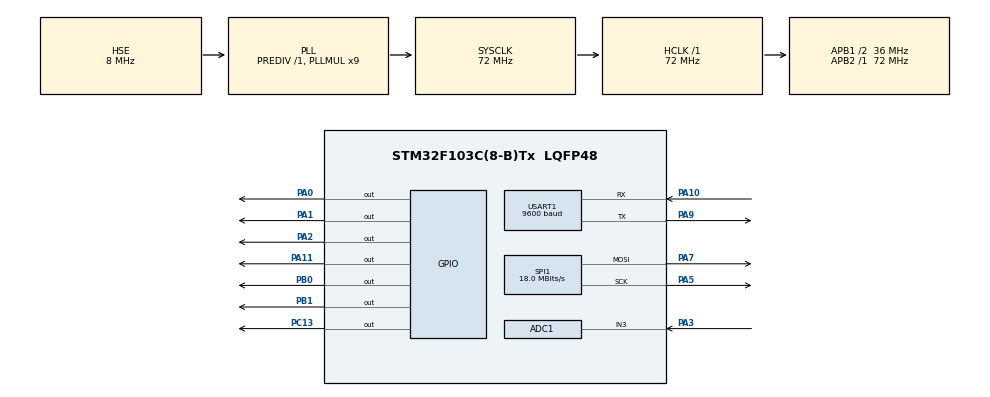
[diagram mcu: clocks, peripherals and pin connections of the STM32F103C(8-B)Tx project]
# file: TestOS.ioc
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ADC1.Channel-2\#ChannelRegularConversion=ADC_CHANNEL_3
ADC1.NbrOfConversionFlag=1
ADC1.Rank-2\#ChannelRegularConversion=1
ADC1.SamplingTime-2\#ChannelRegularConversion=ADC_SAMPLETIME_1CYCLE_5
ADC1.master=1
FREERTOS.Tasks01=topTask,24,128,StartTopTask,Default,NULL,Dynamic,NULL,NULL;myTask02,24,128,StartTask02,Default,NULL,Dynamic,NULL,NULL;myTask03,24,128,StartTask03,Default,NULL,Dynamic,NULL,NULL;uartTask,24,128,StartUartTask,Default,NULL,Dynamic,NULL,NULL
FREERTOS.configGENERATE_RUN_TIME_STATS=1
FREERTOS.configUSE_IDLE_HOOK=1
FREERTOS.configUSE_STATS_FORMATTING_FUNCTIONS=1
Mcu.Family=STM32F1
Mcu.Name=STM32F103C(8-B)Tx
Mcu.Package=LQFP48
NVIC.ADC1_2_IRQn=true\:5\:0\:false\:false\:true\:true\:true\:true
NVIC.PriorityGroup=NVIC_PRIORITYGROUP_4
NVIC.TIM2_IRQn=true\:0\:0\:false\:false\:true\:false\:false\:true
NVIC.TIM3_IRQn=true\:5\:0\:false\:false\:true\:true\:true\:true
NVIC.TimeBase=TIM2_IRQn
NVIC.TimeBaseIP=TIM2
PA0-WKUP.GPIO_PuPd=GPIO_PULLUP
PA0-WKUP.GPIO_Speed=GPIO_SPEED_FREQ_MEDIUM
PA0-WKUP.PinState=GPIO_PIN_RESET
PA0-WKUP.Signal=GPIO_Output
PA1.GPIO_PuPd=GPIO_PULLUP
PA1.PinState=GPIO_PIN_RESET
PA1.Signal=GPIO_Output
PA10.Mode=Asynchronous
PA10.Signal=USART1_RX
PA11.Signal=GPIO_Output
PA13.Mode=Serial_Wire
PA13.Signal=SYS_JTMS-SWDIO
PA14.Mode=Serial_Wire
PA14.Signal=SYS_JTCK-SWCLK
PA2.GPIO_PuPd=GPIO_PULLUP
PA2.PinState=GPIO_PIN_RESET
PA2.Signal=GPIO_Output
PA3.Signal=ADCx_IN3
PA5.Mode=TX_Only_Simplex_Unidirect_Master
PA5.Signal=SPI1_SCK
PA7.Mode=TX_Only_Simplex_Unidirect_Master
PA7.Signal=SPI1_MOSI
PA9.Mode=Asynchronous
PA9.Signal=USART1_TX
PB0.GPIO_PuPd=GPIO_NOPULL
PB0.GPIO_Speed=GPIO_SPEED_FREQ_MEDIUM
PB0.PinState=GPIO_PIN_SET
PB0.Signal=GPIO_Output
PB1.GPIO_PuPd=GPIO_NOPULL
PB1.GPIO_Speed=GPIO_SPEED_FREQ_MEDIUM
PB1.Signal=GPIO_Output
PC13-TAMPER-RTC.Signal=GPIO_Output
PD0-OSC_IN.Mode=HSE-External-Oscillator
PD0-OSC_IN.Signal=RCC_OSC_IN
PD1-OSC_OUT.Mode=HSE-External-Oscillator
PD1-OSC_OUT.Signal=RCC_OSC_OUT
ProjectManager.HeapSize=0x200
ProjectManager.StackSize=0x400
ProjectManager.TargetToolchain=Makefile
RCC.ADCPresc=RCC_ADCPCLK2_DIV6
RCC.AHBFreq_Value=72000000
RCC.APB1CLKDivider=RCC_HCLK_DIV2
RCC.APB1Freq_Value=36000000
RCC.APB1TimFreq_Value=72000000
RCC.APB2Freq_Value=72000000
RCC.APB2TimFreq_Value=72000000
RCC.HCLKFreq_Value=72000000
RCC.PLLMUL=RCC_PLL_MUL9
RCC.PLLSourceVirtual=RCC_PLLSOURCE_HSE
RCC.SYSCLKFreq_VALUE=72000000
RCC.SYSCLKSource=RCC_SYSCLKSOURCE_PLLCLK
RCC.USBFreq_Value=72000000
SH.ADCx_IN3.0=ADC1_IN3,IN3
SPI1.BaudRatePrescaler=SPI_BAUDRATEPRESCALER_4
SPI1.CLKPhase=SPI_PHASE_2EDGE
SPI1.CLKPolarity=SPI_POLARITY_HIGH
SPI1.CalculateBaudRate=18.0 MBits/s
SPI1.DataSize=SPI_DATASIZE_8BIT
SPI1.Direction=SPI_DIRECTION_2LINES
SPI1.FirstBit=SPI_FIRSTBIT_MSB
SPI1.Mode=SPI_MODE_MASTER
SPI1.VirtualType=VM_MASTER
TIM3.Period=10
TIM3.Prescaler=700
USART1.BaudRate=9600
USART1.VirtualMode=VM_ASYNC
VP_FREERTOS_VS_CMSIS_V2.Mode=CMSIS_V2
VP_SYS_VS_tim2.Mode=TIM2
VP_TIM3_VS_ClockSourceINT.Mode=Internal
board=custom

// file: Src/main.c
/* USER CODE BEGIN Header */
/**
  ******************************************************************************
  * @file           : main.c
  * @brief          : Main program body
  ******************************************************************************
  * @attention
  *
  * <h2><center>&copy; Copyright (c) 2020 STMicroelectronics.
  * All rights reserved.</center></h2>
  *
  * This software component is licensed by ST under Ultimate Liberty license
  * SLA0044, the "License"; You may not use this file except in compliance with
  * the License. You may obtain a copy of the License at:
  *                             www.st.com/SLA0044
  *
  ******************************************************************************
  */
/* USER CODE END Header */

#include "main.h"
#include "cmsis_os.h"
#include "adc.h"
#include "spi.h"
#include "tim.h"
#include "usart.h"
#include "gpio.h"

/* USER CODE BEGIN Includes */
#include "st7789.h"
/* USER CODE END Includes */

/* USER CODE BEGIN PV */

volatile unsigned long ulHighFrequencyTimerTicks;
/* USER CODE END PV */

void SystemClock_Config(void);
void MX_FREERTOS_Init(void);

int main(void)
{

  /* MCU Configuration--------------------------------------------------------*/

  /* Reset of all peripherals, Initializes the Flash interface and the Systick. */
  HAL_Init();

  /* Configure the system clock */
  SystemClock_Config();

  /* Initialize all configured peripherals */
  MX_GPIO_Init();
  MX_USART1_UART_Init();
  MX_SPI1_Init();
  MX_ADC1_Init();
  MX_TIM3_Init();
  /* USER CODE BEGIN 2 */
  HAL_GPIO_WritePin(BLK_GPIO_Port, BLK_Pin, GPIO_PIN_SET);
  HAL_TIM_Base_Start_IT(&htim3);
  /* USER CODE END 2 */

  /* Init scheduler */
  osKernelInitialize();  /* Call init function for freertos objects (in freertos.c) */
  MX_FREERTOS_Init();
  /* Start scheduler */
  osKernelStart();

  /* We should never get here as control is now taken by the scheduler */
  /* Infinite loop */
  while (1)
  {

  }
}

void SystemClock_Config(void)
{
  RCC_OscInitTypeDef RCC_OscInitStruct = {0};
  RCC_ClkInitTypeDef RCC_ClkInitStruct = {0};
  RCC_PeriphCLKInitTypeDef PeriphClkInit = {0};

  /** Initializes the CPU, AHB and APB busses clocks
  */
  RCC_OscInitStruct.OscillatorType = RCC_OSCILLATORTYPE_HSE;
  RCC_OscInitStruct.HSEState = RCC_HSE_ON;
  RCC_OscInitStruct.HSEPredivValue = RCC_HSE_PREDIV_DIV1;
  RCC_OscInitStruct.HSIState = RCC_HSI_ON;
  RCC_OscInitStruct.PLL.PLLState = RCC_PLL_ON;
  RCC_OscInitStruct.PLL.PLLSource = RCC_PLLSOURCE_HSE;
  RCC_OscInitStruct.PLL.PLLMUL = RCC_PLL_MUL9;
  if (HAL_RCC_OscConfig(&RCC_OscInitStruct) != HAL_OK)
  {
    Error_Handler();
  }
  /** Initializes the CPU, AHB and APB busses clocks
  */
  RCC_ClkInitStruct.ClockType = RCC_CLOCKTYPE_HCLK|RCC_CLOCKTYPE_SYSCLK
                              |RCC_CLOCKTYPE_PCLK1|RCC_CLOCKTYPE_PCLK2;
  RCC_ClkInitStruct.SYSCLKSource = RCC_SYSCLKSOURCE_PLLCLK;
  RCC_ClkInitStruct.AHBCLKDivider = RCC_SYSCLK_DIV1;
  RCC_ClkInitStruct.APB1CLKDivider = RCC_HCLK_DIV2;
  RCC_ClkInitStruct.APB2CLKDivider = RCC_HCLK_DIV1;

  if (HAL_RCC_ClockConfig(&RCC_ClkInitStruct, FLASH_LATENCY_2) != HAL_OK)
  {
    Error_Handler();
  }
  PeriphClkInit.PeriphClockSelection = RCC_PERIPHCLK_ADC;
  PeriphClkInit.AdcClockSelection = RCC_ADCPCLK2_DIV6;
  if (HAL_RCCEx_PeriphCLKConfig(&PeriphClkInit) != HAL_OK)
  {
    Error_Handler();
  }
}

 /**
  * @brief  Period elapsed callback in non blocking mode
  * @note   This function is called  when TIM2 interrupt took place, inside
  * HAL_TIM_IRQHandler(). It makes a direct call to HAL_IncTick() to increment
  * a global variable "uwTick" used as application time base.
  * @param  htim : TIM handle
  * @retval None
  */
void HAL_TIM_PeriodElapsedCallback(TIM_HandleTypeDef *htim)
{
  /* USER CODE BEGIN Callback 0 */
  if(htim->Instance == TIM3)
  {
      ulHighFrequencyTimerTicks++;
  }
  /* USER CODE END Callback 0 */
  if (htim->Instance == TIM2) {
    HAL_IncTick();
  }
}

void Error_Handler(void)
{
}

/************************ (C) COPYRIGHT STMicroelectronics *****END OF FILE****/

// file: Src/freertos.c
/* USER CODE BEGIN Header */
/**
  ******************************************************************************
  * File Name          : freertos.c
  * Description        : Code for freertos applications
  ******************************************************************************
  * @attention
  *
  * <h2><center>&copy; Copyright (c) 2020 STMicroelectronics.
  * All rights reserved.</center></h2>
  *
  * This software component is licensed by ST under Ultimate Liberty license
  * SLA0044, the "License"; You may not use this file except in compliance with
  * the License. You may obtain a copy of the License at:
  *                             www.st.com/SLA0044
  *
  ******************************************************************************
  */
/* USER CODE END Header */

#include "FreeRTOS.h"
#include "task.h"
#include "main.h"
#include "cmsis_os.h"

/* USER CODE BEGIN Includes */

#include "st7789.h"
#include "adc.h"
#include <stdio.h>
#include "usart.h"
/* USER CODE END Includes */

/* USER CODE BEGIN Variables */
int a = 0;
char buff[16] = {0,};
char str[60] = {'A','B'};
float adc_read = 0;
char pcWriteBuffer[256];
char d = 'A';

/* USER CODE END Variables */
/* Definitions for topTask */
osThreadId_t topTaskHandle;
const osThreadAttr_t topTask_attributes = {
  .name = "topTask",
  .priority = (osPriority_t) osPriorityNormal,
  .stack_size = 128 * 4
};
/* Definitions for myTask02 */
osThreadId_t myTask02Handle;
const osThreadAttr_t myTask02_attributes = {
  .name = "myTask02",
  .priority = (osPriority_t) osPriorityNormal,
  .stack_size = 128 * 4
};
/* Definitions for myTask03 */
osThreadId_t myTask03Handle;
const osThreadAttr_t myTask03_attributes = {
  .name = "myTask03",
  .priority = (osPriority_t) osPriorityNormal,
  .stack_size = 128 * 4
};
/* Definitions for uartTask */
osThreadId_t uartTaskHandle;
const osThreadAttr_t uartTask_attributes = {
  .name = "uartTask",
  .priority = (osPriority_t) osPriorityNormal,
  .stack_size = 128 * 4
};

void StartTopTask(void *argument);
void StartTask02(void *argument);
void StartTask03(void *argument);
void StartUartTask(void *argument);

void MX_FREERTOS_Init(void); /* (MISRA C 2004 rule 8.1) */

/* Hook prototypes */
void configureTimerForRunTimeStats(void);
unsigned long getRunTimeCounterValue(void);
void vApplicationIdleHook(void);

/* USER CODE BEGIN 1 */
/* Functions needed when configGENERATE_RUN_TIME_STATS is on */
__weak void configureTimerForRunTimeStats(void)
{

}

__weak unsigned long getRunTimeCounterValue(void)
{
return 0;
}
/* USER CODE END 1 */

/* USER CODE BEGIN 2 */
__weak void vApplicationIdleHook( void )
{
   /* vApplicationIdleHook() will only be called if configUSE_IDLE_HOOK is set
   to 1 in FreeRTOSConfig.h. It will be called on each iteration of the idle
   task. It is essential that code added to this hook function never attempts
   to block in any way (for example, call xQueueReceive() with a block time
   specified, or call vTaskDelay()). If the application makes use of the
   vTaskDelete() API function (as this demo application does) then it is also
   important that vApplicationIdleHook() is permitted to return to its calling
   function, because it is the responsibility of the idle task to clean up
   memory allocated by the kernel to any task that has since been deleted. */
}
/* USER CODE END 2 */

void MX_FREERTOS_Init(void) {

  /* Create the thread(s) */
  /* creation of topTask */
  topTaskHandle = osThreadNew(StartTopTask, NULL, &topTask_attributes);

  /* creation of myTask02 */
  myTask02Handle = osThreadNew(StartTask02, NULL, &myTask02_attributes);

  /* creation of myTask03 */
  myTask03Handle = osThreadNew(StartTask03, NULL, &myTask03_attributes);

  /* creation of uartTask */
  uartTaskHandle = osThreadNew(StartUartTask, NULL, &uartTask_attributes);

  /* USER CODE BEGIN RTOS_THREADS */
  /* add threads, ... */
   ST7789_Init(240,240);
    ST7789_FillScreen(BLACK);
    ST7789_SetBL(100);

  /* USER CODE END RTOS_THREADS */

}

void StartTopTask(void *argument)
{
  /* USER CODE BEGIN StartTopTask */
  /* Infinite loop */
  for(;;)
  {
    vTaskGetRunTimeStats(pcWriteBuffer);
    osDelay(1000);
  }
  /* USER CODE END StartTopTask */
}

void StartTask02(void *argument)
{
  /* USER CODE BEGIN StartTask02 */
  /* Infinite loop */
  for(;;)
  {

      char *tmpSign = (adc_read < 0) ? "-" : "";
      float tmpVal = (adc_read < 0) ? -adc_read : adc_read;

      int tmpInt1 = tmpVal;                  // Get the integer (678).
      float tmpFrac = tmpVal - tmpInt1;      // Get fraction (0.0123).
      int tmpInt2 = trunc(tmpFrac * 10000);  // Turn into integer (123).

      // Print as parts, note that you need 0-padding for fractional bit.

      sprintf (str, "adc_read = %s%d.%04d", tmpSign, tmpInt1, tmpInt2);

//      ST7789_print_5x8(10, 30, RED, RGB565(0, 0, 0), 0, "Я");
//      osDelay(1);
//      ST7789_print_5x8(40, 60, WHITE, RGB565(0, 0, 0), 0, "Твой ");
//      osDelay(1);
//      ST7789_print_5x8(40, 80, YELLOW, RGB565(0, 0, 0), 0, "Служба");
//      osDelay(1);
//      ST7789_print_5x8(40, 100, MAGENTA, RGB565(0, 0, 0), 0, "Труба");
//      osDelay(1);
//      ST7789_print_5x8(40, 120, GREEN, RGB565(0, 0, 0), 0, "ШАТАЛ ");
//      osDelay(1);
//      ST7789_print_5x8(40, 140, CYAN, RGB565(0, 0, 0), 0, "=) ");

      osDelay(1);
      ST7789_print_7x11(40, 160, YELLOW, RGB565(0, 0, 0), 0,str);
      ST7789_print_7x11(0, 10, WHITE, RGB565(0, 0, 0), 0,pcWriteBuffer);
      ST7789_DrawChar_7x11(0,200,RED,BLACK,0,d);

      osDelay(100);

  }
  /* USER CODE END StartTask02 */
}

void StartTask03(void *argument)
{
  /* USER CODE BEGIN StartTask03 */
  /* Infinite loop */
  for(;;)
  {

      HAL_ADC_Start(&hadc1);
      HAL_ADC_PollForConversion(&hadc1,100);
      adc_read =((float)HAL_ADC_GetValue(&hadc1))*3/4096;

      HAL_ADC_Stop(&hadc1);

      osDelay(1);
  }
  /* USER CODE END StartTask03 */
}

void StartUartTask(void *argument)
{
  /* USER CODE BEGIN StartUartTask */
  /* Infinite loop */
  for(;;)
  {

      HAL_GPIO_WritePin(GPIOA,GPIO_PIN_11,GPIO_PIN_RESET);
      osDelay(100);

      HAL_UART_Transmit(&huart1, (uint8_t*)"AT+DEFAULT\r\n",12,1000);
      osDelay(100);

      HAL_UART_Transmit(&huart1, (uint8_t*)"AT+RX\r\n", 7, 1000);
      osDelay(100);

      HAL_GPIO_WritePin(GPIOA,GPIO_PIN_11,GPIO_PIN_SET);
      osDelay(100);

      HAL_UART_Transmit(&huart1, (uint8_t*)"AAAAAAA", 7, 1000);

      osDelay(1000);
  }
  /* USER CODE END StartUartTask */
}

/************************ (C) COPYRIGHT STMicroelectronics *****END OF FILE****/
